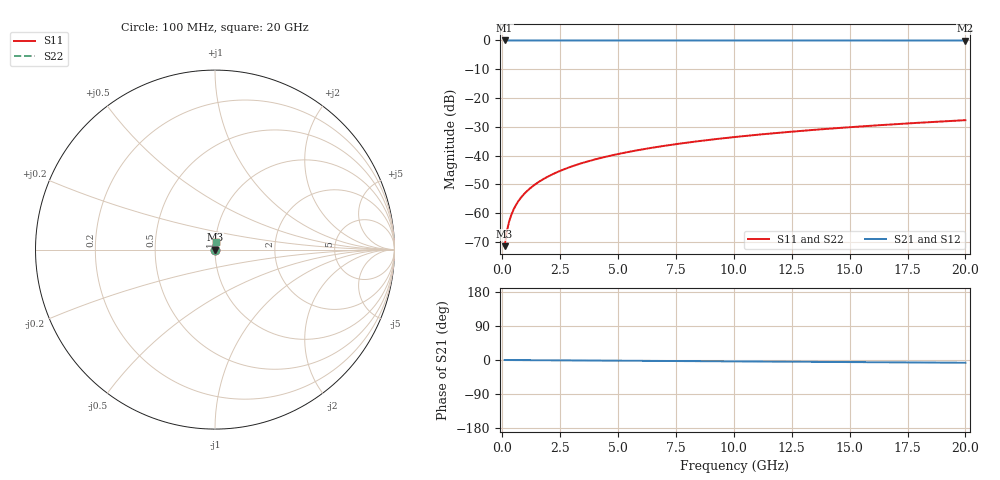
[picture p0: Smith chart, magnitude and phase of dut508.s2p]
! Touchstone file exported from HFSS 2026.1.0
!  File:  C:/ffzhzh/LocalFiles/Ansys_Project_Files/temp_train_TSV_508_1783023211_4048.aedt
!  Generated:  04:15:25 AM Jul  3, 2026
!  Design:  TSV
!  Project:  temp_train_TSV_508_1783023211_4048
! Variables:
!  h_bsmrdl = 2um
!  h_ox = 20um
!  h_rdl = 5um
!  h_sub = 62.5um
!  h_tmrdl = 5um
!  h_tsv = 62.5um
!  h_via = 3um
!  l_bsmrdl = 300um
!  l_sub = 418.74um
!  l_tmrdl = 200um
!  m_sub = 200um
!  pitch = 56.16um
!  r_tsv = 9.37um
!  s_tmrdl = 10um
!  w_bsmrdl = 18um
!  w_sub = 500um
!  w_tmrdl = 12um
!  x_tsv_center1 = 206um
!  x_tsv_center2 = 524um
!  x_tsv_center3 = 736um
!  x_tsv_center4 = 1054um
!  x_tsv_center5 = 1266um
!  x_tsv_center6 = 1584um
# GHz S MA R 50.000000
! Terminal data exported
! Port[1] = TSV1_1_T1
! Port[2] = TSV1_1_T2
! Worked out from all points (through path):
!   200 points, 100 MHz to 20 GHz, reference 50 ohm
!   highest |S21| = 0.00 dB at 100 MHz (marker M1); lowest = 0.0 dB at 20 GHz (marker M2)
!   group delay of S21, straight-line fit = 1.01 ps
!   lowest |S11| = -71.5 dB at 100 MHz (marker M3), VSWR 1.00, Z = 50 + j0.024 ohm
!   |S11| at or under -10 dB: start of sweep to end of sweep
!   |S22| runs from -71.5 to -27.7 dB; largest |S21 - S12| = 6.1e-15
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0.1  0.0002657 64.4  0.9999 -0.0  0.9999 -0.0  0.0002657 64.4
! Gamma 0 0 0 0
! Port Impedance 50 0 50 0
0.2  0.0004933 75.5  0.9999 -0.1  0.9999 -0.1  0.0004933 75.5
0.3  0.0007251 79.1  0.9999 -0.1  0.9999 -0.1  0.0007251 79.1
0.4  0.0009548 80.7  0.9998 -0.2  0.9998 -0.2  0.0009548 80.7
0.5  0.001181 81.5  0.9998 -0.2  0.9998 -0.2  0.001181 81.5
0.6  0.001404 82.1  0.9998 -0.2  0.9998 -0.2  0.001404 82.1
0.7  0.001623 82.5  0.9998 -0.3  0.9998 -0.3  0.001623 82.5
0.8  0.00184 82.8  0.9998 -0.3  0.9998 -0.3  0.00184 82.8
1  0.002267 83.3  0.9997 -0.4  0.9997 -0.4  0.002267 83.3
1.4  0.003111 84.0  0.9997 -0.5  0.9997 -0.5  0.003111 84.0
1.7  0.00374 84.4  0.9997 -0.6  0.9997 -0.6  0.00374 84.4
2  0.004368 84.7  0.9996 -0.7  0.9996 -0.7  0.004368 84.7
2.7  0.005832 85.1  0.9996 -1.0  0.9996 -1.0  0.005832 85.1
3.5  0.007503 85.3  0.9995 -1.3  0.9995 -1.3  0.007503 85.3
4.2  0.008959 85.4  0.9995 -1.5  0.9995 -1.5  0.008959 85.4
5  0.01062 85.3  0.9994 -1.8  0.9994 -1.8  0.01062 85.3
6.8  0.01433 85.0  0.9993 -2.5  0.9993 -2.5  0.01433 85.0
8.3  0.01741 84.7  0.9992 -3.0  0.9992 -3.0  0.01741 84.7
10.1  0.02109 84.3  0.999 -3.7  0.999 -3.7  0.02109 84.3
13.4  0.02781 83.3  0.9987 -4.9  0.9987 -4.9  0.02781 83.3
16.7  0.03449 82.3  0.9984 -6.1  0.9984 -6.1  0.03449 82.3
20  0.04113 81.2  0.9981 -7.3  0.9981 -7.3  0.04113 81.2
